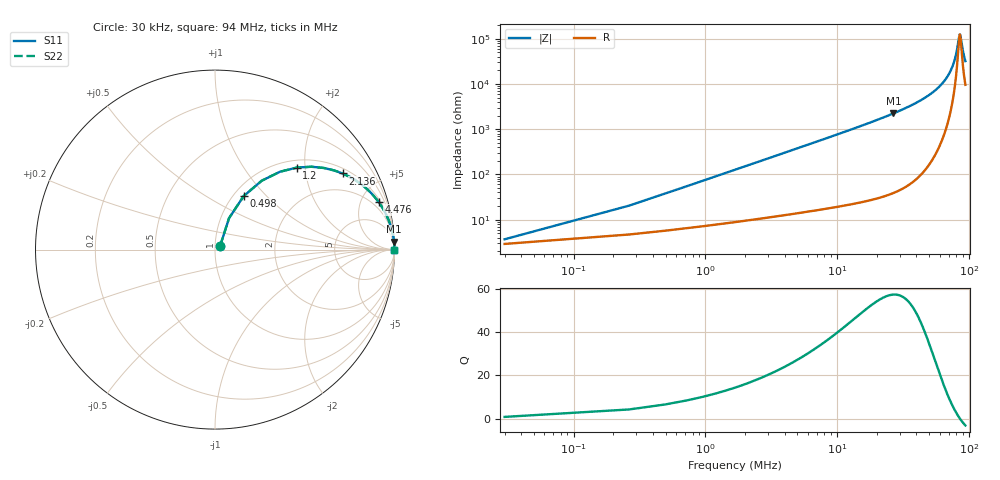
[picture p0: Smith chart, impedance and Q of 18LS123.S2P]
! Coilcraft 1812LS-123 Chip Inductor
! 8 August 2002
# MHZ S MA R 50
!Freq  MagS11  AngS11  MagS21  AngS21  MagS12  AngS12  MagS22  AngS22
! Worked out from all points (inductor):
!   403 points, 30 kHz to 94 MHz, reference 50 ohm
!   read as one part in series: L = 12 uH near 498 kHz
!   highest Q = 57.5 at 26.71 MHz (marker M1), where L = 13.3 uH
!   self-resonance near 85.21 MHz
!   S11 on the Smith chart (normalised r, x): 30 kHz: 1.06, +0.05; 498 kHz: 1.11, +0.75; 1.2 MHz: 1.16, +1.81; 2.136 MHz: 1.19, +3.22; 4.476 MHz: 1.26, +6.77; 94 MHz: open
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0.03  0.03583 36.6  0.9715 -1.3  0.9715 -1.3  0.03583 36.6
0.498  0.3386 61.8  0.8913 -19.6  0.8913 -19.6  0.3386 61.8
0.732  0.4633 55.9  0.8336 -27.4  0.8336 -27.4  0.4633 55.9
0.966  0.5648 50.2  0.7717 -34.2  0.7717 -34.2  0.5648 50.2
1.2  0.6454 45.1  0.7106 -40.0  0.7106 -40.0  0.6454 45.1
2.136  0.8281 30.8  0.5129 -55.8  0.5129 -55.8  0.8281 30.8
3.072  0.9027 22.8  0.3888 -64.4  0.3888 -64.4  0.9027 22.8
4.476  0.9491 16.3  0.2802 -71.5  0.2802 -71.5  0.9491 16.3
8.922  0.9856 8.3  0.1449 -80.1  0.1449 -80.1  0.9856 8.3
15.708  0.9951 4.7  0.08115 -84.2  0.08115 -84.2  0.9951 4.7
26.706  0.9982 2.6  0.04471 -86.4  0.04471 -86.4  0.9982 2.6
31.386  0.9987 2.1  0.03649 -86.9  0.03649 -86.9  0.9987 2.1
47.064  0.9993 1.1  0.0196 -87.4  0.0196 -87.4  0.9993 1.1
62.742  0.9994 0.6  0.009727 -86.1  0.009727 -86.1  0.9994 0.6
72.102  0.9993 0.3  0.005309 -82.8  0.005309 -82.8  0.9993 0.3
78.42  0.9993 0.2  0.002738 -74.8  0.002738 -74.8  0.9993 0.2
80.994  0.9993 0.1  0.001802 -65.5  0.001802 -65.5  0.9993 0.1
84.27  0.9992 0.0  0.0008885 -27.6  0.0008885 -27.6  0.9992 0.0
85.44  0.9992 -0.0  0.0008039 1.1  0.0008039 1.1  0.9992 -0.0
86.376  0.9992 -0.0  0.0008899 23.4  0.0008899 23.4  0.9992 -0.0
90.588  0.9991 -0.1  0.002029 64.2  0.002029 64.2  0.9991 -0.1
94  0.9991 -0.2  0.003118 72.4  0.003118 72.4  0.9991 -0.2
